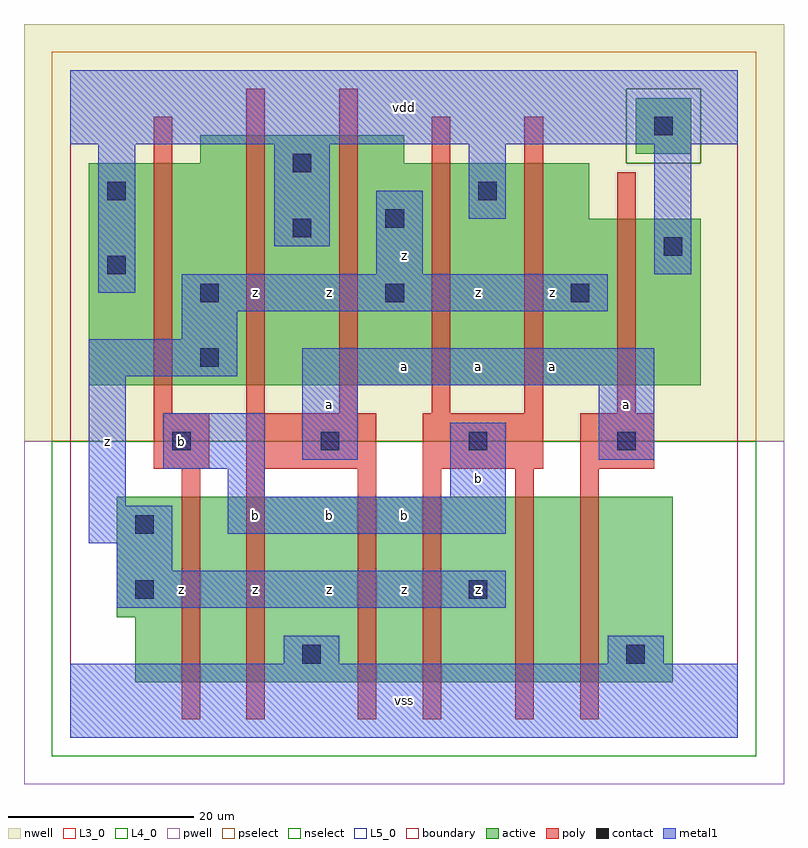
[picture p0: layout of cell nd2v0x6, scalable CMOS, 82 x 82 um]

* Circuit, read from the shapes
.subckt nd2v0x6 a b vdd vss z
M1 n1 b z VSUBS nfet w=20u l=2u
M2 vss a n1 VSUBS nfet w=20u l=2u
M3 n2 a vss VSUBS nfet w=20u l=2u
M4 z b n2 VSUBS nfet w=20u l=2u
M5 n3 b z VSUBS nfet w=20u l=2u
M6 vss a n3 VSUBS nfet w=20u l=2u
M7 z b vdd vdd pfet w=24u l=2u m=3
M8 vdd a z vdd pfet w=27u l=2u m=2
M9 vdd a z vdd pfet w=18u l=2u
.ends

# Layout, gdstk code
import gdstk
lib = gdstk.Library(unit=1e-6, precision=1e-09)
def R(c, l, rs):  # rectangles x0, y0, x1, y1
    for r in rs: c.add(gdstk.rectangle(r[:2], r[2:], *l))
def A(c, l, x, y, w, h, nx, ny, dx, dy):  # array of equal rectangles
    R(c, l, [(x+i*dx, y+j*dy, x+i*dx+w, y+j*dy+h) for i in range(nx) for j in range(ny)])
L3_0 = (3, 0)
L4_0 = (4, 0)
L5_0 = (5, 0)
contact = (25, 0)
pwell = (41, 0)
nwell = (42, 0)
active = (43, 0)
pselect = (44, 0)
nselect = (45, 0)
poly = (46, 0)
metal1 = (49, 0)
boundary = (63, 0)

nd2v0x6 = lib.new_cell('nd2v0x6')
R(nd2v0x6, L3_0, [(7,6,65,13), (5,13,65,26)])
R(nd2v0x6, L4_0, [(2,38,68,56), (2,56,56,62), (14,62,36,65)])
R(nd2v0x6, L5_0, [(61,63,67,69)])
A(nd2v0x6, contact, 11, 31, 2, 2, 4, 1, 16, 0)
A(nd2v0x6, contact, 14, 47, 2, 2, 3, 1, 20, 0)
R(nd2v0x6, contact, [(25,8,27,10), (60,8,62,10), (7,15,9,17), (43,15,45,17), (7,22,9,24), (14,40,16,42), (4,50,6,52), (64,52,66,54), (24,54,26,56), (34,55,36,57), (4,58,6,60), (44,58,46,60), (24,61,26,63), (63,65,65,67)])
R(nd2v0x6, pwell, [(-5,-5,77,32)])
R(nd2v0x6, nwell, [(-5,32,77,77)])
R(nd2v0x6, active, [(7,6,65,13), (5,13,65,26), (2,38,68,56), (2,56,56,62), (14,62,36,65), (61,63,67,69)])
R(nd2v0x6, pselect, [(-2,32,74,62), (-2,62,60,70), (68,62,74,70), (-2,70,74,74)])
R(nd2v0x6, nselect, [(-2,-2,74,32), (60,62,68,70)])
R(nd2v0x6, poly, [(12,2,14,29), (19,2,21,29), (31,2,33,29), (38,2,40,29), (48,2,50,29), (55,2,57,29), (9,29,15,35), (19,29,33,35), (38,29,51,35), (55,29,63,35), (9,35,11,67), (19,35,21,70), (29,35,31,70), (39,35,41,67), (49,35,51,67), (59,35,61,61)])
R(nd2v0x6, metal1, [(0,0,72,8), (23,8,29,11), (58,8,64,11), (5,14,47,18), (5,18,11,21), (2,21,11,25), (17,22,47,26), (2,25,6,39), (17,26,21,29), (41,26,47,34), (10,29,21,35), (25,30,31,38), (57,30,63,38), (25,38,63,42), (2,39,18,43), (12,43,18,46), (12,46,58,50), (3,48,7,64), (33,50,38,59), (63,50,67,64), (22,53,28,64), (43,56,47,64), (0,64,72,72)])
R(nd2v0x6, boundary, [(0,0,72,72)])
nd2v0x6.add(gdstk.Label('z', (12,16), layer=49, texttype=0))
nd2v0x6.add(gdstk.Label('b', (12,32), layer=49, texttype=0))
nd2v0x6.add(gdstk.Label('z', (4,32), layer=49, texttype=0))
nd2v0x6.add(gdstk.Label('z', (28,16), layer=49, texttype=0))
nd2v0x6.add(gdstk.Label('z', (20,16), layer=49, texttype=0))
nd2v0x6.add(gdstk.Label('b', (20,24), layer=49, texttype=0))
nd2v0x6.add(gdstk.Label('b', (28,24), layer=49, texttype=0))
nd2v0x6.add(gdstk.Label('a', (28,36), layer=49, texttype=0))
nd2v0x6.add(gdstk.Label('z', (20,48), layer=49, texttype=0))
nd2v0x6.add(gdstk.Label('z', (28,48), layer=49, texttype=0))
nd2v0x6.add(gdstk.Label('vss', (36,4), layer=49, texttype=0))
nd2v0x6.add(gdstk.Label('z', (44,16), layer=49, texttype=0))
nd2v0x6.add(gdstk.Label('z', (36,16), layer=49, texttype=0))
nd2v0x6.add(gdstk.Label('b', (36,24), layer=49, texttype=0))
nd2v0x6.add(gdstk.Label('b', (44,28), layer=49, texttype=0))
nd2v0x6.add(gdstk.Label('a', (44,40), layer=49, texttype=0))
nd2v0x6.add(gdstk.Label('a', (52,40), layer=49, texttype=0))
nd2v0x6.add(gdstk.Label('a', (36,40), layer=49, texttype=0))
nd2v0x6.add(gdstk.Label('z', (36,52), layer=49, texttype=0))
nd2v0x6.add(gdstk.Label('z', (52,48), layer=49, texttype=0))
nd2v0x6.add(gdstk.Label('z', (44,48), layer=49, texttype=0))
nd2v0x6.add(gdstk.Label('vdd', (36,68), layer=49, texttype=0))
nd2v0x6.add(gdstk.Label('a', (60,36), layer=49, texttype=0))

lib.write_gds('nd2v0x6.gds')
